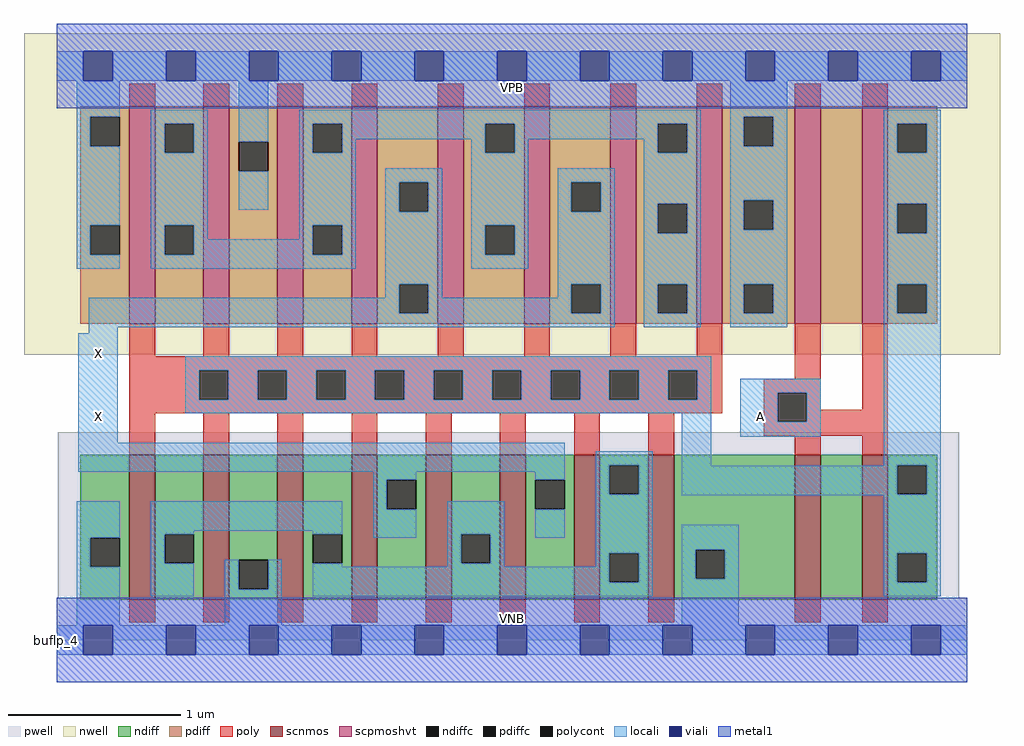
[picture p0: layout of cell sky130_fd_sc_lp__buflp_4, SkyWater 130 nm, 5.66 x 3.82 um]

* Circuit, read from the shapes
.subckt sky130_fd_sc_lp__buflp_4 A VGND VNB VPB VPWR X
XM1 n1 n2 VGND VNB sky130_fd_pr__nfet_01v8 w=0.84 l=0.15 m=4
XM2 X n2 n1 VNB sky130_fd_pr__nfet_01v8 w=0.84 l=0.15 m=4
XM3 n3 A VGND VNB sky130_fd_pr__nfet_01v8 w=0.84 l=0.15
XM4 n2 A n3 VNB sky130_fd_pr__nfet_01v8 w=0.84 l=0.15
XM5 n4 n2 VPWR VPB sky130_fd_pr__pfet_01v8_hvt w=1.26 l=0.15 m=4
XM6 X n2 n4 VPB sky130_fd_pr__pfet_01v8_hvt w=1.26 l=0.15 m=4
XM7 n5 A VPWR VPB sky130_fd_pr__pfet_01v8_hvt w=1.26 l=0.15
XM8 n2 A n5 VPB sky130_fd_pr__pfet_01v8_hvt w=1.26 l=0.15
.ends

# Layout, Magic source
magic
tech sky130A
magscale 1 2
<< nwell >>
rect -38 331 1094 704
<< pwell >>
rect 1 49 1047 241
rect 0 0 1056 49
<< scnmos >>
rect 84 47 114 215
rect 170 47 200 215
rect 256 47 286 215
rect 342 47 372 215
rect 428 47 458 215
rect 514 47 544 215
rect 600 47 630 215
rect 686 47 716 215
rect 856 47 886 215
rect 934 47 964 215
<< scpmoshvt >>
rect 84 367 114 619
rect 170 367 200 619
rect 256 367 286 619
rect 342 367 372 619
rect 442 367 472 619
rect 542 367 572 619
rect 642 367 672 619
rect 742 367 772 619
rect 856 367 886 619
rect 934 367 964 619
<< ndiff >>
rect 27 119 84 215
rect 27 85 39 119
rect 73 85 84 119
rect 27 47 84 85
rect 114 123 170 215
rect 114 89 125 123
rect 159 89 170 123
rect 114 47 170 89
rect 200 93 256 215
rect 200 59 211 93
rect 245 59 256 93
rect 200 47 256 59
rect 286 123 342 215
rect 286 89 297 123
rect 331 89 342 123
rect 286 47 342 89
rect 372 186 428 215
rect 372 152 383 186
rect 417 152 428 186
rect 372 47 428 152
rect 458 123 514 215
rect 458 89 469 123
rect 503 89 514 123
rect 458 47 514 89
rect 544 186 600 215
rect 544 152 555 186
rect 589 152 600 186
rect 544 47 600 152
rect 630 203 686 215
rect 630 169 641 203
rect 675 169 686 203
rect 630 101 686 169
rect 630 67 641 101
rect 675 67 686 101
rect 630 47 686 67
rect 716 105 856 215
rect 716 71 741 105
rect 775 71 856 105
rect 716 47 856 71
rect 886 47 934 215
rect 964 203 1021 215
rect 964 169 975 203
rect 1009 169 1021 203
rect 964 101 1021 169
rect 964 67 975 101
rect 1009 67 1021 101
rect 964 47 1021 67
<< pdiff >>
rect 27 607 84 619
rect 27 573 39 607
rect 73 573 84 607
rect 27 481 84 573
rect 27 447 39 481
rect 73 447 84 481
rect 27 367 84 447
rect 114 599 170 619
rect 114 565 125 599
rect 159 565 170 599
rect 114 481 170 565
rect 114 447 125 481
rect 159 447 170 481
rect 114 367 170 447
rect 200 578 256 619
rect 200 544 211 578
rect 245 544 256 578
rect 200 367 256 544
rect 286 599 342 619
rect 286 565 297 599
rect 331 565 342 599
rect 286 481 342 565
rect 286 447 297 481
rect 331 447 342 481
rect 286 367 342 447
rect 372 531 442 619
rect 372 497 397 531
rect 431 497 442 531
rect 372 413 442 497
rect 372 379 397 413
rect 431 379 442 413
rect 372 367 442 379
rect 472 599 542 619
rect 472 565 497 599
rect 531 565 542 599
rect 472 481 542 565
rect 472 447 497 481
rect 531 447 542 481
rect 472 367 542 447
rect 572 531 642 619
rect 572 497 597 531
rect 631 497 642 531
rect 572 413 642 497
rect 572 379 597 413
rect 631 379 642 413
rect 572 367 642 379
rect 672 599 742 619
rect 672 565 697 599
rect 731 565 742 599
rect 672 506 742 565
rect 672 472 697 506
rect 731 472 742 506
rect 672 413 742 472
rect 672 379 697 413
rect 731 379 742 413
rect 672 367 742 379
rect 772 607 856 619
rect 772 573 797 607
rect 831 573 856 607
rect 772 510 856 573
rect 772 476 797 510
rect 831 476 856 510
rect 772 413 856 476
rect 772 379 797 413
rect 831 379 856 413
rect 772 367 856 379
rect 886 367 934 619
rect 964 599 1021 619
rect 964 565 975 599
rect 1009 565 1021 599
rect 964 506 1021 565
rect 964 472 975 506
rect 1009 472 1021 506
rect 964 413 1021 472
rect 964 379 975 413
rect 1009 379 1021 413
rect 964 367 1021 379
<< ndiffc >>
rect 39 85 73 119
rect 125 89 159 123
rect 211 59 245 93
rect 297 89 331 123
rect 383 152 417 186
rect 469 89 503 123
rect 555 152 589 186
rect 641 169 675 203
rect 641 67 675 101
rect 741 71 775 105
rect 975 169 1009 203
rect 975 67 1009 101
<< pdiffc >>
rect 39 573 73 607
rect 39 447 73 481
rect 125 565 159 599
rect 125 447 159 481
rect 211 544 245 578
rect 297 565 331 599
rect 297 447 331 481
rect 397 497 431 531
rect 397 379 431 413
rect 497 565 531 599
rect 497 447 531 481
rect 597 497 631 531
rect 597 379 631 413
rect 697 565 731 599
rect 697 472 731 506
rect 697 379 731 413
rect 797 573 831 607
rect 797 476 831 510
rect 797 379 831 413
rect 975 565 1009 599
rect 975 472 1009 506
rect 975 379 1009 413
<< poly >>
rect 84 619 114 645
rect 170 619 200 645
rect 256 619 286 645
rect 342 619 372 645
rect 442 619 472 645
rect 542 619 572 645
rect 642 619 672 645
rect 742 619 772 645
rect 856 619 886 645
rect 934 619 964 645
rect 84 329 114 367
rect 170 329 200 367
rect 256 329 286 367
rect 342 329 372 367
rect 442 329 472 367
rect 542 329 572 367
rect 642 329 672 367
rect 742 329 772 367
rect 84 313 772 329
rect 84 279 165 313
rect 199 279 233 313
rect 267 279 301 313
rect 335 279 369 313
rect 403 279 437 313
rect 471 279 505 313
rect 539 279 573 313
rect 607 279 641 313
rect 675 279 709 313
rect 743 279 772 313
rect 856 303 886 367
rect 84 263 772 279
rect 820 287 886 303
rect 84 215 114 263
rect 170 215 200 263
rect 256 215 286 263
rect 342 215 372 263
rect 428 215 458 263
rect 514 215 544 263
rect 600 215 630 263
rect 686 215 716 263
rect 820 253 836 287
rect 870 267 886 287
rect 934 267 964 367
rect 870 253 964 267
rect 820 237 964 253
rect 856 215 886 237
rect 934 215 964 237
rect 84 21 114 47
rect 170 21 200 47
rect 256 21 286 47
rect 342 21 372 47
rect 428 21 458 47
rect 514 21 544 47
rect 600 21 630 47
rect 686 21 716 47
rect 856 21 886 47
rect 934 21 964 47
<< polycont >>
rect 165 279 199 313
rect 233 279 267 313
rect 301 279 335 313
rect 369 279 403 313
rect 437 279 471 313
rect 505 279 539 313
rect 573 279 607 313
rect 641 279 675 313
rect 709 279 743 313
rect 836 253 870 287
<< locali >>
rect 0 649 31 683
rect 65 649 127 683
rect 161 649 223 683
rect 257 649 319 683
rect 353 649 415 683
rect 449 649 511 683
rect 545 649 607 683
rect 641 649 703 683
rect 737 649 799 683
rect 833 649 895 683
rect 929 649 991 683
rect 1025 649 1056 683
rect 23 607 73 649
rect 23 573 39 607
rect 23 481 73 573
rect 23 447 39 481
rect 23 431 73 447
rect 109 599 175 615
rect 109 565 125 599
rect 159 565 175 599
rect 109 481 175 565
rect 211 578 245 649
rect 211 499 245 544
rect 281 599 747 615
rect 281 565 297 599
rect 331 581 497 599
rect 331 565 347 581
rect 109 447 125 481
rect 159 465 175 481
rect 281 481 347 565
rect 481 565 497 581
rect 531 581 697 599
rect 531 565 547 581
rect 281 465 297 481
rect 159 447 297 465
rect 331 447 347 481
rect 109 431 347 447
rect 381 531 447 547
rect 381 497 397 531
rect 431 497 447 531
rect 381 413 447 497
rect 481 481 547 565
rect 681 565 697 581
rect 731 565 747 599
rect 481 447 497 481
rect 531 447 547 481
rect 481 431 547 447
rect 581 531 647 547
rect 581 497 597 531
rect 631 497 647 531
rect 381 397 397 413
rect 37 379 397 397
rect 431 397 447 413
rect 581 413 647 497
rect 581 397 597 413
rect 431 379 597 397
rect 631 379 647 413
rect 37 363 647 379
rect 681 506 747 565
rect 681 472 697 506
rect 731 472 747 506
rect 681 413 747 472
rect 681 379 697 413
rect 731 379 747 413
rect 681 363 747 379
rect 781 607 847 649
rect 781 573 797 607
rect 831 573 847 607
rect 781 510 847 573
rect 781 476 797 510
rect 831 476 847 510
rect 781 413 847 476
rect 781 379 797 413
rect 831 379 847 413
rect 781 363 847 379
rect 959 599 1025 615
rect 959 565 975 599
rect 1009 565 1025 599
rect 959 506 1025 565
rect 959 472 975 506
rect 1009 472 1025 506
rect 959 413 1025 472
rect 959 379 975 413
rect 1009 379 1025 413
rect 37 356 71 363
rect 25 229 71 356
rect 149 313 759 329
rect 149 279 165 313
rect 199 279 233 313
rect 267 279 301 313
rect 335 279 369 313
rect 403 279 437 313
rect 471 279 505 313
rect 539 279 573 313
rect 607 279 641 313
rect 675 279 709 313
rect 743 279 759 313
rect 149 263 759 279
rect 25 195 589 229
rect 367 186 417 195
rect 23 119 73 161
rect 23 85 39 119
rect 23 17 73 85
rect 109 127 331 161
rect 109 123 159 127
rect 109 89 125 123
rect 297 123 331 127
rect 109 51 159 89
rect 195 59 211 93
rect 245 59 261 93
rect 195 17 261 59
rect 367 152 383 186
rect 555 186 589 195
rect 367 119 417 152
rect 453 123 519 161
rect 297 85 331 89
rect 453 89 469 123
rect 503 89 519 123
rect 555 119 589 152
rect 625 203 691 219
rect 625 169 641 203
rect 675 169 691 203
rect 453 85 519 89
rect 625 101 691 169
rect 725 202 759 263
rect 793 287 886 303
rect 793 253 836 287
rect 870 253 886 287
rect 793 236 886 253
rect 959 203 1025 379
rect 959 202 975 203
rect 725 169 975 202
rect 1009 169 1025 203
rect 725 168 1025 169
rect 625 85 641 101
rect 297 67 641 85
rect 675 67 691 101
rect 297 51 691 67
rect 725 105 791 134
rect 725 71 741 105
rect 775 71 791 105
rect 725 17 791 71
rect 959 101 1025 168
rect 959 67 975 101
rect 1009 67 1025 101
rect 959 51 1025 67
rect 0 -17 31 17
rect 65 -17 127 17
rect 161 -17 223 17
rect 257 -17 319 17
rect 353 -17 415 17
rect 449 -17 511 17
rect 545 -17 607 17
rect 641 -17 703 17
rect 737 -17 799 17
rect 833 -17 895 17
rect 929 -17 991 17
rect 1025 -17 1056 17
<< viali >>
rect 31 649 65 683
rect 127 649 161 683
rect 223 649 257 683
rect 319 649 353 683
rect 415 649 449 683
rect 511 649 545 683
rect 607 649 641 683
rect 703 649 737 683
rect 799 649 833 683
rect 895 649 929 683
rect 991 649 1025 683
rect 31 -17 65 17
rect 127 -17 161 17
rect 223 -17 257 17
rect 319 -17 353 17
rect 415 -17 449 17
rect 511 -17 545 17
rect 607 -17 641 17
rect 703 -17 737 17
rect 799 -17 833 17
rect 895 -17 929 17
rect 991 -17 1025 17
<< metal1 >>
rect 0 683 1056 715
rect 0 649 31 683
rect 65 649 127 683
rect 161 649 223 683
rect 257 649 319 683
rect 353 649 415 683
rect 449 649 511 683
rect 545 649 607 683
rect 641 649 703 683
rect 737 649 799 683
rect 833 649 895 683
rect 929 649 991 683
rect 1025 649 1056 683
rect 0 617 1056 649
rect 0 17 1056 49
rect 0 -17 31 17
rect 65 -17 127 17
rect 161 -17 223 17
rect 257 -17 319 17
rect 353 -17 415 17
rect 449 -17 511 17
rect 545 -17 607 17
rect 641 -17 703 17
rect 737 -17 799 17
rect 833 -17 895 17
rect 929 -17 991 17
rect 1025 -17 1056 17
rect 0 -49 1056 -17
<< labels >>
flabel pwell s 0 0 1056 49 0 FreeSans 200 0 0 0 VNB
port 3 nsew ground bidirectional
flabel nwell s 0 617 1056 666 0 FreeSans 200 0 0 0 VPB
port 4 nsew power bidirectional
rlabel comment s 0 0 0 0 4 buflp_4
flabel metal1 s 0 617 1056 666 0 FreeSans 340 0 0 0 VPWR
port 5 nsew power bidirectional
flabel metal1 s 0 0 1056 49 0 FreeSans 340 0 0 0 VGND
port 2 nsew ground bidirectional
flabel locali s 799 242 833 276 0 FreeSans 340 0 0 0 A
port 1 nsew signal input
flabel locali s 31 242 65 276 0 FreeSans 340 0 0 0 X
port 6 nsew signal output
flabel locali s 31 316 65 350 0 FreeSans 340 0 0 0 X
port 6 nsew signal output
<< properties >>
string LEFsite unit
string LEFclass CORE
string FIXED_BBOX 0 0 1056 666
string GDS_FILE $PDKPATH/libs.ref/sky130_fd_sc_lp/gds/sky130_fd_sc_lp.gds
string LEFsymmetry X Y R90
string GDS_END 6981404
string GDS_START 6973716
<< end >>
